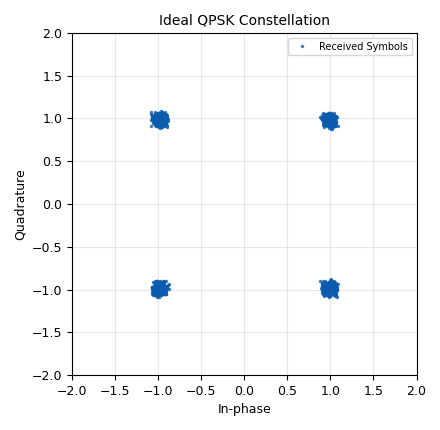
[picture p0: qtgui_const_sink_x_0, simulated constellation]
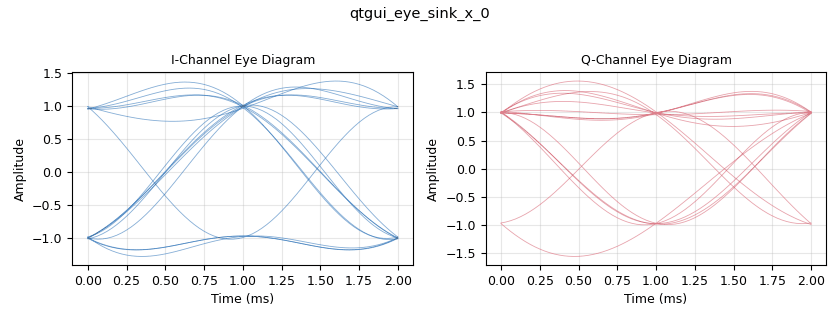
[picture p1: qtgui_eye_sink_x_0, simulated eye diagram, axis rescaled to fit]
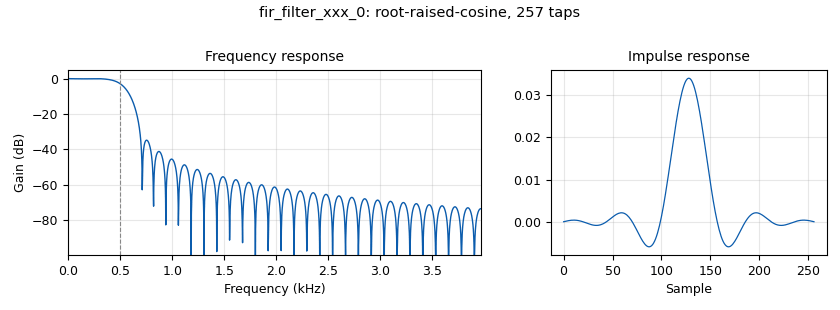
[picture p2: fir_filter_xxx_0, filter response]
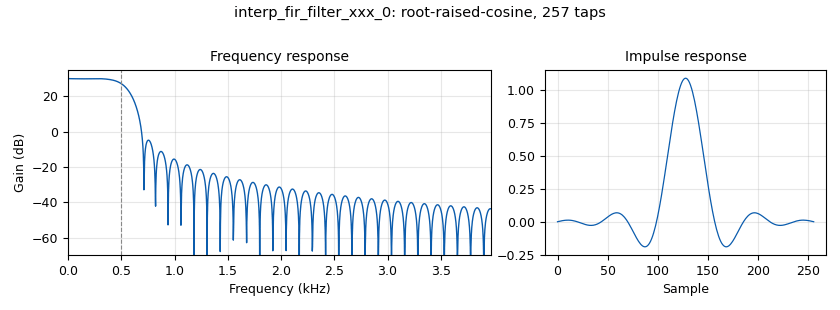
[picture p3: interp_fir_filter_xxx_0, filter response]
options:
  parameters:
    author: Dhrubjun
    generate_options: qt_gui
    id: exp1
    output_language: python
    title: Ideal End-to-End QPSK Link
  states: {}

blocks:
- name: alpha
  id: variable
  parameters:
    value: '0.35'
  states: {}
- name: ntaps
  id: variable
  parameters:
    value: span * sps + 1
  states: {}
- name: samp_rate
  id: variable
  parameters:
    value: '32000'
  states: {}
- name: span
  id: variable
  parameters:
    value: '8'
  states: {}
- name: sps
  id: variable
  parameters:
    value: int(samp_rate / symbol_rate)
  states: {}
- name: symbol_rate
  id: variable
  parameters:
    value: '1000'
  states: {}
- name: analog_random_source_x_0
  id: analog_random_source_x
  parameters:
    max: '2'
    min: '0'
    num_samps: '1000'
    repeat: 'True'
    type: byte
  states: {}
- name: analog_random_source_x_0_0
  id: analog_random_source_x
  parameters:
    max: '2'
    min: '0'
    num_samps: '1000'
    repeat: 'True'
    type: byte
  states: {}
- name: blocks_float_to_complex_0
  id: blocks_float_to_complex
  parameters: {}
  states: {}
- name: blocks_keep_one_in_n_0
  id: blocks_keep_one_in_n
  parameters:
    n: sps
    type: complex
  states: {}
- name: blocks_throttle2_0
  id: blocks_throttle2
  parameters:
    samples_per_second: samp_rate
    type: complex
  states: {}
- name: digital_chunks_to_symbols_xx_0
  id: digital_chunks_to_symbols_xx
  parameters:
    dimension: '1'
    in_type: byte
    out_type: float
    symbol_table: '[-1,1]'
  states: {}
- name: digital_chunks_to_symbols_xx_0_0
  id: digital_chunks_to_symbols_xx
  parameters:
    dimension: '1'
    in_type: byte
    out_type: float
    symbol_table: '[-1,1]'
  states: {}
- name: fir_filter_xxx_0
  id: fir_filter_xxx
  parameters:
    decim: '1'
    taps: firdes.root_raised_cosine(1, samp_rate, symbol_rate, alpha, ntaps)
    type: ccf
  states: {}
- name: interp_fir_filter_xxx_0
  id: interp_fir_filter_xxx
  parameters:
    interp: sps
    taps: firdes.root_raised_cosine(sps, samp_rate, symbol_rate, alpha, ntaps)
    type: ccf
  states: {}
- name: qtgui_const_sink_x_0
  id: qtgui_const_sink_x
  parameters:
    grid: 'True'
    label1: Received Symbols
    name: Ideal QPSK Constellation
    size: '1024'
    type: complex
  states: {}
- name: qtgui_eye_sink_x_0
  id: qtgui_eye_sink_x
  parameters:
    label1: I-Channel Eye Diagram
    label2: Q-Channel Eye Diagram
    samp_per_symbol: sps
    size: '1024'
    srate: samp_rate
    type: complex
  states: {}

connections:
- [analog_random_source_x_0, '0', digital_chunks_to_symbols_xx_0, '0']
- [analog_random_source_x_0_0, '0', digital_chunks_to_symbols_xx_0_0, '0']
- [blocks_float_to_complex_0, '0', interp_fir_filter_xxx_0, '0']
- [blocks_keep_one_in_n_0, '0', qtgui_const_sink_x_0, '0']
- [blocks_throttle2_0, '0', fir_filter_xxx_0, '0']
- [digital_chunks_to_symbols_xx_0, '0', blocks_float_to_complex_0, '0']
- [digital_chunks_to_symbols_xx_0_0, '0', blocks_float_to_complex_0, '1']
- [fir_filter_xxx_0, '0', blocks_keep_one_in_n_0, '0']
- [fir_filter_xxx_0, '0', qtgui_eye_sink_x_0, '0']
- [interp_fir_filter_xxx_0, '0', blocks_throttle2_0, '0']

metadata:
  file_format: 1
  grc_version: 3.10.12.0
